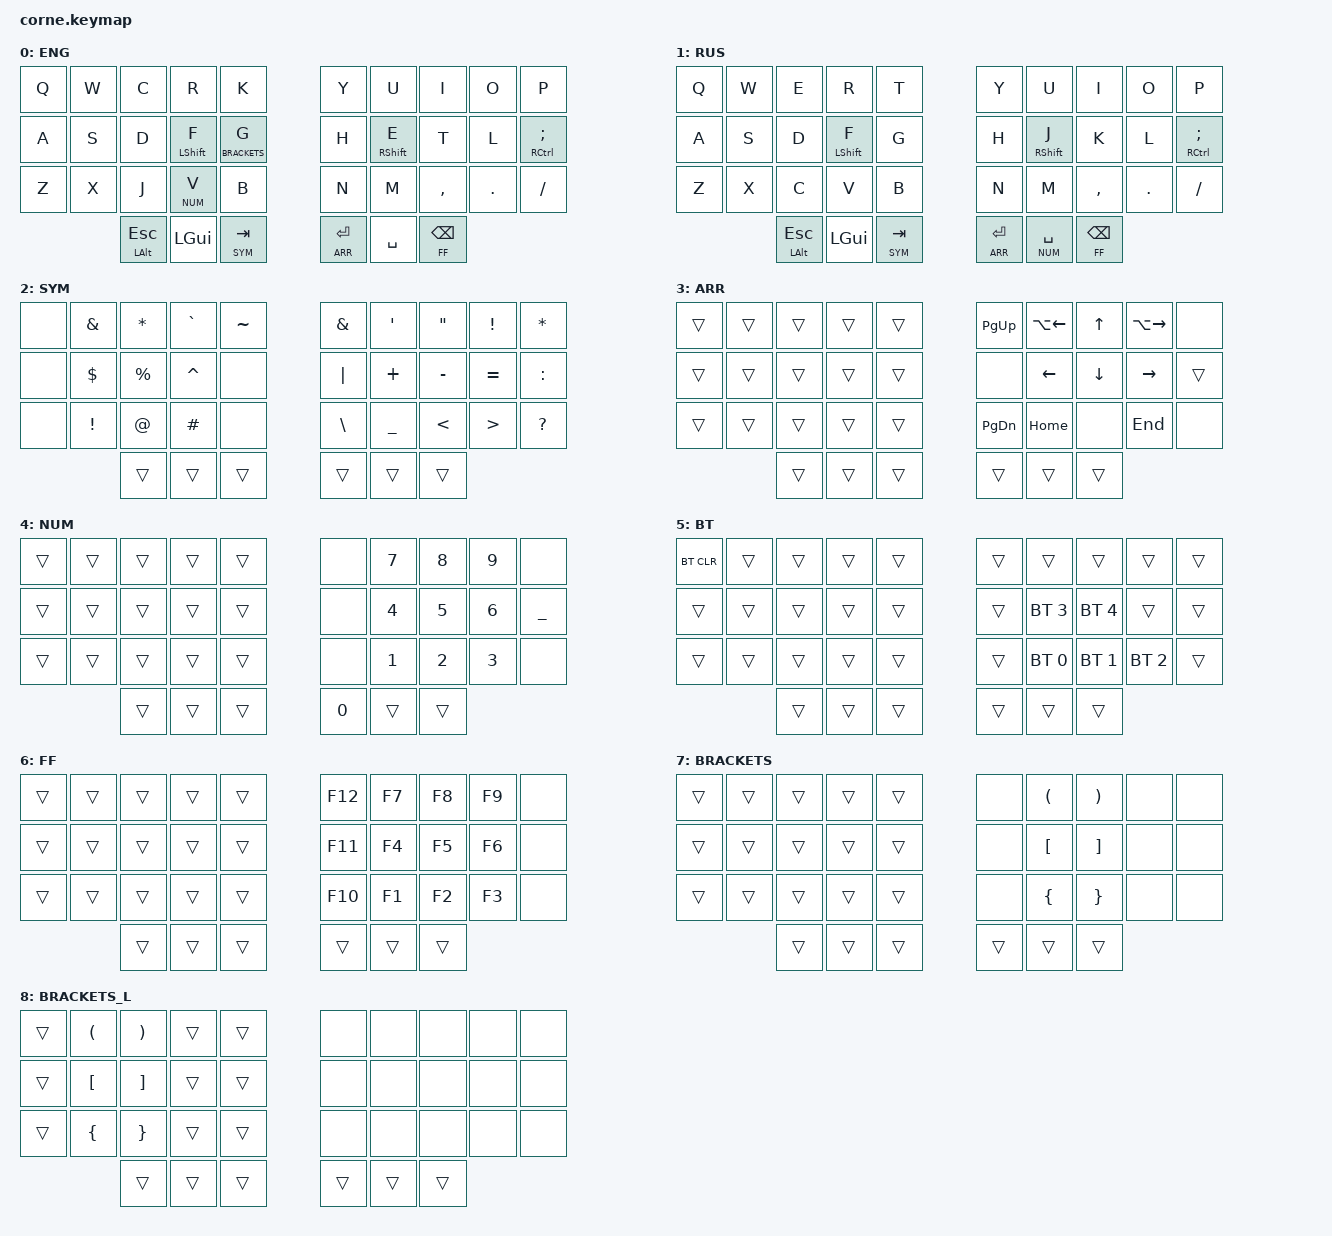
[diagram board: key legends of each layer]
/*
 * Copyright (c) 2020 The ZMK Contributors
 *
 * SPDX-License-Identifier: MIT
 */

#include <behaviors.dtsi>
#include <dt-bindings/zmk/bt.h>
#include <dt-bindings/zmk/keys.h>

#define ENG 0
#define RUS 1
#define SYM 2
#define ARR 3
#define NUM 4
#define BT 5
#define FF 6
#define BRACKETS 7
#define BRACKETS_L 8

/ {
    chosen { zmk,matrix_transform = &five_column_transform; };

    macros {
        macro_rus: macro_rus {
            compatible = "zmk,behavior-macro";
            #binding-cells = <0>;
            bindings = <&kp LA(SPACE) &tog RUS>;
        };

        th_macro: th_macro {
            compatible = "zmk,behavior-macro";
            #binding-cells = <0>;
            bindings = <&kp T &kp H>;
        };

        tion_macro: tion_macro {
            compatible = "zmk,behavior-macro";
            #binding-cells = <0>;
            bindings = <&kp T &kp I &kp O &kp N>;
            label = "TION_MACRO";
        };

        ing_macro: ing_macro {
            compatible = "zmk,behavior-macro";
            #binding-cells = <0>;
            bindings = <&kp I &kp N &kp G>;
            label = "ING_MACRO";
        };
    };

    combos {
        compatible = "zmk,combos";

        // POINT FINGERS - HIGH ROW = Caps Word (Turns off on Space)

        combo_caps_word {
            timeout-ms = <65>;
            key-positions = <13 16>;
            bindings = <&caps_word>;
        };

        // POINT FINGERS = Hard Caps Lock (Traditional Toggle)

        combo_caps_lock {
            timeout-ms = <65>;
            key-positions = <3 6>;
            bindings = <&kp CAPS>;
        };

        // Toggle BT-Layer by pressing both inner thumbs (32 and 33)

        combo_bt_layer {
            timeout-ms = <50>;
            key-positions = <32 33>;
            bindings = <&mo BT>;
        };

        // Toggle RUS-Layer by CLICKING both outer thumbs (30 and 35)

        combo_rus {
            timeout-ms = <50>;
            key-positions = <0 9>;
            bindings = <&macro_rus>;
            layers = <ENG RUS>;
        };

        // Parentheses
        // Square Brackets
        // Curly Brackets
        // Word macros
    };

    behaviors {
        esc_cmd: esc_cmd {
            compatible = "zmk,behavior-hold-tap";
            #binding-cells = <2>;
            flavor = "tap-preferred";
            tapping-term-ms = <150>;

            // quick-tap-ms = <125>;
            // hold-trigger-on-release;

            bindings = <&kp>, <&kp>;
        };

        // Refined Home Row Shift
        // require-prior-idle-ms ensures no accidental shifts while typing fast.

        hm: homerow_mods {
            compatible = "zmk,behavior-hold-tap";
            #binding-cells = <2>;
            tapping-term-ms = <150>;
            quick-tap-ms = <125>;
            flavor = "balanced";
            bindings = <&kp>, <&kp>;

            // require-prior-idle-ms = <150>; // remove since blocks me from immediate trigger shift after BSPC
        };

        // Модификаторы для ЛЕВОЙ руки (включаются, только если нажата кнопка СПРАВА)

        hm_l: homerow_mods_left {
            compatible = "zmk,behavior-hold-tap";
            #binding-cells = <2>;
            tapping-term-ms = <200>;
            quick-tap-ms = <125>;
            flavor = "tap-preferred";
            hold-trigger-on-release;

            // Индексы всех кнопок правой половины (включая большие пальцы)

            hold-trigger-key-positions = <5 6 7 8 9 15 16 17 18 19 25 26 27 28 29 33 34 35>;
            bindings = <&kp>, <&kp>;
        };

        // Модификаторы для ПРАВОЙ руки (включаются, только если нажата кнопка СЛЕВА)

        hm_r: homerow_mods_right {
            compatible = "zmk,behavior-hold-tap";
            #binding-cells = <2>;
            tapping-term-ms = <200>;
            quick-tap-ms = <125>;
            flavor = "tap-preferred";
            hold-trigger-on-release;

            // Индексы всех кнопок левой половины (включая большие пальцы)

            hold-trigger-key-positions = <0 1 2 3 4 10 11 12 13 14 20 21 22 23 24 30 31 32>;
            bindings = <&kp>, <&kp>;
        };

        // HOME ROW for a NUM and ARR
        lt_l: layer_tap_left {
            compatible = "zmk,behavior-hold-tap";
            #binding-cells = <2>;
            tapping-term-ms = <200>;
            quick-tap-ms = <125>;
            flavor = "tap-preferred";
            hold-trigger-on-release;

            // Индексы всех кнопок правой половины (включая большие пальцы)
            hold-trigger-key-positions = <5 6 7 8 9 15 16 17 18 19 25 26 27 28 29 33 34 35>;

            // &mo triggers the layer on hold, &kp triggers the key on tap
            bindings = <&mo>, <&kp>;
        };

        // HOME ROW for a CHARS
        lt_r: layer_tap_right {
            compatible = "zmk,behavior-hold-tap";
            #binding-cells = <2>;
            tapping-term-ms = <200>;
            quick-tap-ms = <125>;
            flavor = "tap-preferred";
            hold-trigger-on-release;

            // Индексы всех кнопок правой половины (включая большие пальцы)
            hold-trigger-key-positions = <0 1 2 3 4 10 11 12 13 14 20 21 22 23 24 30 31 32>;

            // &mo triggers the layer on hold, &kp triggers the key on tap
            bindings = <&mo>, <&kp>;
        };


        lt_fast: fast_layer_tap {
            compatible = "zmk,behavior-hold-tap";
            #binding-cells = <2>;
            flavor = "balanced";       // Triggers 'hold' if another key is pressed
            tapping-term-ms = <150>;    // Lower term for faster response
            quick-tap-ms = <140>;       // Allows for tap repetition
            bindings = <&mo>, <&kp>;
        };

        lt_space: slower_space_layer_tap {
            compatible = "zmk,behavior-hold-tap";
            #binding-cells = <2>;
            flavor = "balanced";       // Triggers 'hold' if another key is pressed
            quick-tap-ms = <140>;       // Allows for tap repetition
            bindings = <&mo>, <&kp>;

            // retro-tap;                // If the user held the key past the tapping term but never pressed any other keys, send the tap action (Space) when they finally release it."
            tapping-term-ms = <175>;
        };

        // not using - but can in future - CMD as a tap == CMD + TAB

        cmd_tab: cmd_tab {
            compatible = "zmk,behavior-hold-tap";
            #binding-cells = <2>;
            flavor = "tap-preferred";
            tapping-term-ms = <150>;
            bindings = <&kp>, <&kp>;
        };
    };

    keymap {
        compatible = "zmk,keymap";


        // 0: ENG

        eng_layer {
            display-name = "ENG";
            bindings = <
  &kp Q  &kp W              &kp C              &kp R         &kp K                         &kp Y               &kp U                &kp I         &kp O         &kp P
  &kp A  &kp S   &kp  D        &hm LSHIFT F  &lt_fast BRACKETS G                         &kp H               &hm RSHIFT E         &kp T  &kp L  &hm RCTRL SEMI
  &kp Z  &kp X              &kp J              &lt_fast NUM V         &kp B                         &kp N               &kp M                &kp COMMA     &kp PERIOD    &kp FSLH
                            &esc_cmd LALT ESC  &kp LGUI      &lt_fast SYM TAB         &lt_fast ARR ENTER       &kp SPACE  &lt FF BSPC
            >;
        };





        // 1: RUS

        rus_layer {
            display-name = "RUS";
            bindings = <
  &kp Q  &kp W  &kp E              &kp R         &kp T               &kp Y               &kp U               &kp I        &kp O       &kp P
  &kp A  &kp S  &kp D              &hm LSHIFT F  &kp G               &kp H               &hm RSHIFT J        &kp K        &kp L       &hm RCTRL SEMI
  &kp Z  &kp X  &kp C              &kp V         &kp B               &kp N               &kp M               &kp COMMA    &kp PERIOD  &kp FSLH
                &esc_cmd LALT ESC  &kp LGUI      &lt_fast SYM TAB    &lt_fast ARR ENTER  &lt_fast NUM SPACE  &lt FF BSPC
            >;
        };

        // 2: SYM
        //  & * `             & ' " ! ~
        //  $ % ^             | + - = :
        //  ! @ #             \ _ < > ?

        sym_layer {
            display-name = "SYM";
            bindings = <
                    &none  &kp AMPS  &kp ASTRK  &kp GRAVE     &kp TILDE                         &kp AMPS       &kp SQT    &kp DQT    &kp EXCL   &kp ASTRK
                    &none  &kp DLLR  &kp PRCNT  &kp CARET  &none                         &kp PIPE       &kp PLUS   &kp MINUS  &kp EQUAL  &kp COLON
                    &none  &kp EXCL  &kp AT     &kp HASH   &none                         &kp BACKSLASH  &kp UNDER  &kp LT     &kp GT     &kp QUESTION
                                 &trans     &trans     &trans                        &trans         &trans     &trans
            >;
        };

        //  3: ARR

        arr_layer {
            display-name = "ARR";
            bindings = <
  &trans  &trans  &trans  &trans  &trans    &kp PG_UP  &kp LA(LEFT)  &kp UP    &kp LA(RIGHT)  &none
  &trans  &trans  &trans  &trans  &trans    &none      &kp LEFT      &kp DOWN  &kp RIGHT      &trans
  &trans  &trans  &trans  &trans  &trans    &kp PG_DN  &kp HOME      &none     &kp END        &none
                  &trans  &trans  &trans    &trans     &trans        &trans
            >;
        };

        // 4: NUM  LPAR RPAR LBKT RBKT LBRC RBRC

        num_layer {
            display-name = "NUM";
            bindings = <
  &trans  &trans  &trans  &trans  &trans            &none   &kp N7  &kp N8  &kp N9  &none
  &trans  &trans  &trans  &trans  &trans            &none   &kp N4  &kp N5  &kp N6  &kp UNDER
  &trans  &trans  &trans  &trans  &trans            &none   &kp N1  &kp N2  &kp N3  &none
                    &trans    &trans  &trans        &kp N0  &trans  &trans
            >;
        };

        // 5: BT

        bt_layer {
            display-name = "BT";
            bindings = <
  &bt BT_CLR  &trans  &trans  &trans  &trans                    &trans  &trans        &trans        &trans        &trans
  &trans      &trans  &trans  &trans  &trans                    &trans  &bt BT_SEL 3  &bt BT_SEL 4  &trans        &trans
  &trans      &trans  &trans  &trans  &trans                    &trans  &bt BT_SEL 0  &bt BT_SEL 1  &bt BT_SEL 2  &trans
                      &trans  &trans  &trans                    &trans  &trans        &trans
            >;
        };

        // Layer 6: FF

        ff_layer {
            display-name = "FF";
            bindings = <
  &trans  &trans  &trans  &trans  &trans                        &kp F12  &kp F7  &kp F8  &kp F9  &none
  &trans  &trans  &trans  &trans  &trans                        &kp F11  &kp F4  &kp F5  &kp F6  &none
  &trans  &trans  &trans  &trans  &trans                        &kp F10  &kp F1  &kp F2  &kp F3  &none
                  &trans  &trans  &trans                        &trans   &trans  &trans
            >;
        };


        // Layer 7: BRACKETS

        brackets_layer {
                    display-name = "BRACKETS";
                    bindings = <
          &trans  &trans  &trans  &trans  &trans                     &none  &kp LPAR  &kp RPAR  &none  &none
          &trans  &trans  &trans  &trans  &trans                     &none  &kp LBKT  &kp RBKT  &none  &none
          &trans  &trans  &trans  &trans  &trans                     &none  &kp LBRC  &kp RBRC  &none  &none
                          &trans  &trans  &trans                     &trans     &trans     &trans
            >;
        };

        // Layer 8: BRACKETS_LEFT

        brackets_layer_left {
                    display-name = "BRACKETS_L";
                    bindings = <
          &trans  &kp LPAR  &kp RPAR  &trans  &trans               &none  &none  &none  &none  &none
          &trans  &kp LBKT  &kp RBKT  &trans  &trans               &none  &none  &none  &none  &none
          &trans  &kp LBRC  &kp RBRC  &trans  &trans               &none  &none  &none  &none  &none
                          &trans  &trans  &trans                     &trans     &trans     &trans
            >;
        };

    };
};
